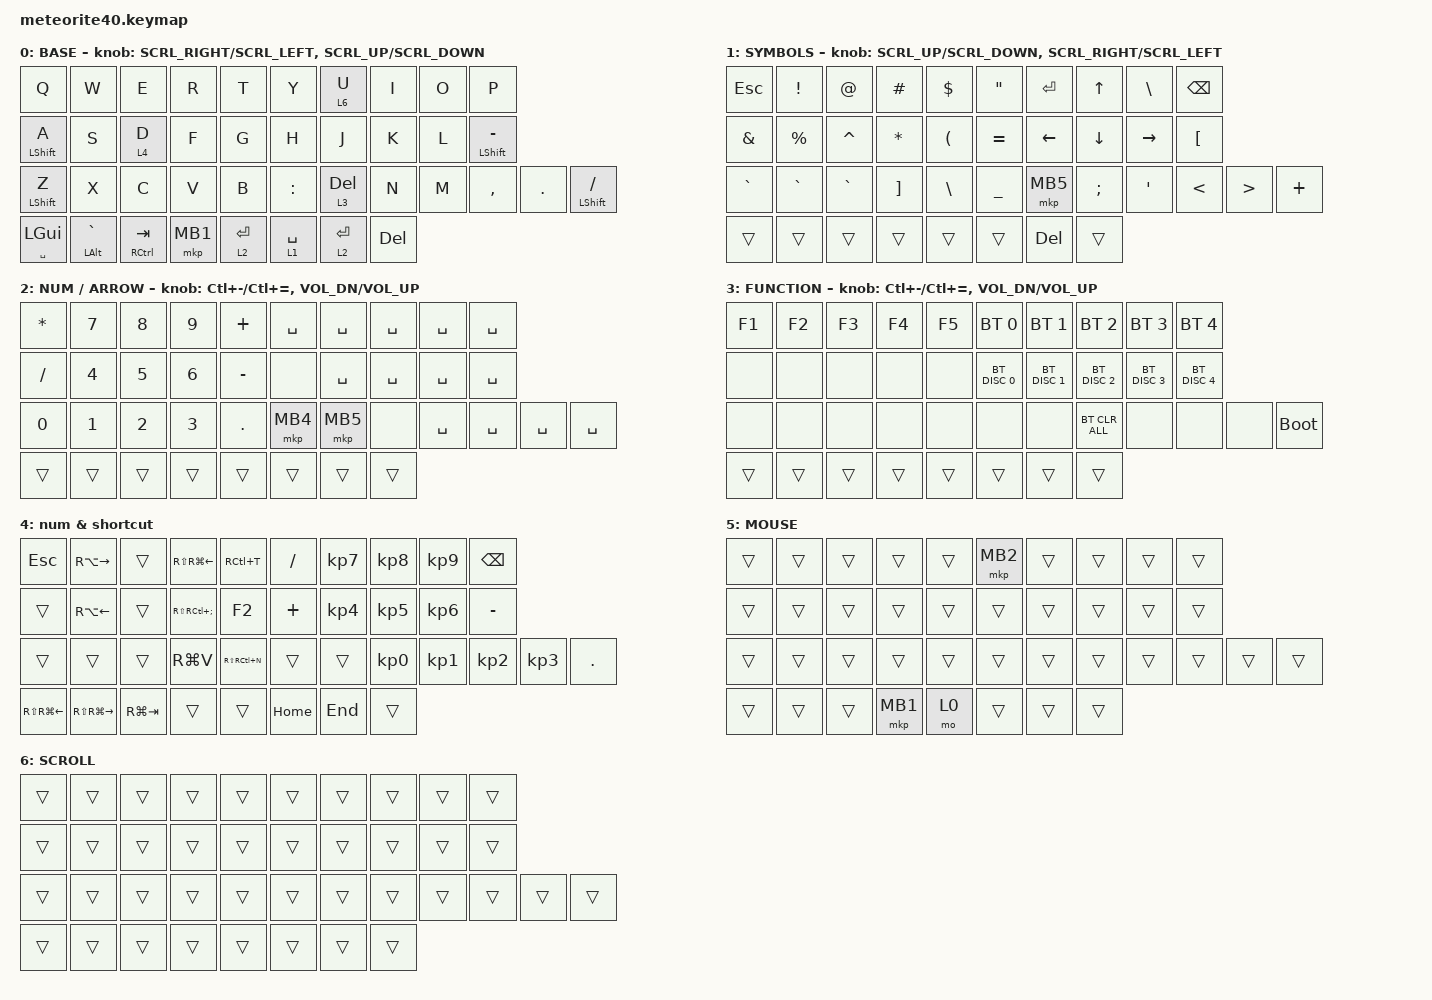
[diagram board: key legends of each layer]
#include <behaviors/meteorite_custom_key.dtsi>
#include <behaviors/custom_config.dtsi>
#include <behaviors/meteorite_bt_os.dtsi>
#include <behaviors/meteorite_mod_key.dtsi>
#include <behaviors/meteorite_os_key.dtsi>
#include <dt-bindings/zmk/custom_config.h>
#include <dt-bindings/zmk/meteorite_custom_keys.h>
#include <dt-bindings/zmk/meteorite_bt_os.h>

#define ZMK_POINTING_DEFAULT_SCRL_VAL 200

#include <behaviors.dtsi>
#include <dt-bindings/zmk/bt.h>
#include <dt-bindings/zmk/keys.h>
#include <dt-bindings/zmk/pointing.h>

&mt {
    flavor = "tap-preferred"; // change hold to tap
    tapping-term-ms = <200>;
    quick-tap-ms = <150>; // change 200 to 150
};

&lt {
    flavor = "tap-preferred";
    tapping-term-ms = <150>; // change 200 to 150
    quick-tap-ms = <150>; // change 200 to 150
};

/ {
    behaviors {
        mouse_scroll_var: mouse_scroll_var {
            compatible = "zmk,behavior-sensor-rotate-var";
            #sensor-binding-cells = <2>;
            bindings = <&msc>, <&msc>;

            tap-ms = <25>;
        };

        mck_mt: mck_mt {
            compatible = "zmk,behavior-hold-tap";
            #binding-cells = <2>;
            flavor = "tap-preferred";
            tapping-term-ms = <150>;
            bindings = <&mck>, <&kp>;

            display-name = "meteorite OS-Switch-mod-tap";
        };

        mck_mt_st: mck_mt_st {
            compatible = "zmk,behavior-hold-tap";
            #binding-cells = <2>;
            flavor = "tap-preferred";
            tapping-term-ms = <150>;
            bindings = <&mck>, <&alt_cmd_tab>;

            display-name = "meteorite OS-Switch-mod-tap (smart toggle)";
        };

        alt_cmd_tab: alt_cmd_tab {
            compatible = "zmk,behavior-smart-toggle";
            #binding-cells = <0>;
            display-name = "meteorite Smart toggle (Alt/Cmd+Tab)";
            bindings = <&mck M_OS_ALT_CMD>, <&kp TAB>;

            position-bindings = <12 13>; /* D, F */
            position-binding-behaviors = <&kp LS(TAB)>, <&kp TAB>;
        };
    };

    combos {
        compatible = "zmk,combos";

        lang1 {
            bindings = <&kp LANG1>;
            key-positions = <12 13>; /* D + F */
            layers = <0>;
        };

        lang2 {
            bindings = <&kp LANG2>;
            key-positions = <16 17>; /* J + K */
            layers = <0>;
        };

        esc {
            bindings = <&kp ESCAPE>;
            key-positions = <1 0>; /* Z + X */
            layers = <0>;
        };
    };

    keymap {
        compatible = "zmk,keymap";
        layout = &LAYOUT_2U_SPACE;

        win_default_layer {
            display-name = "BASE";
            bindings = <
&kp Q               &kp W               &kp E          &kp R     &kp T        &kp Y        &lt 6 U       &kp I       &kp O  &kp P
&mt LSHIFT A        &kp S               &lt 4 D        &kp F     &kp G        &kp H        &kp J         &kp K       &kp L  &mt LEFT_SHIFT MINUS
&mt LEFT_SHIFT Z    &kp X               &kp C          &kp V     &kp B        &kp COLON    &lt 3 DELETE  &kp N       &kp M  &kp COMMA             &kp DOT  &mt LEFT_SHIFT SLASH
&mt SPACE LEFT_GUI  &mt LEFT_ALT GRAVE  &mt RCTRL TAB  &mkp MB1  &lt 2 ENTER  &lt 1 SPACE  &lt 2 ENTER   &kp DELETE
            >;

            sensor-bindings =
                <&mouse_scroll_var SCRL_RIGHT SCRL_LEFT>,
                // RE0(左): 時計回/右スクロール、反時計回/左スクロール,,,,,,,,,,,,,,,,,
                <&mouse_scroll_var SCRL_UP SCRL_DOWN>;

            // RE1(右): 時計回/上スクロール、反時計回/下スクロール
            //<&inc_dec_kp LC(MINUS) LC(EQUAL)>, // RE0: ctrl + - / +,,,
            //<&inc_dec_kp C_VOL_DN C_VOL_UP>; // RE1: volume down/up
        };

        layer_1 {
            display-name = "SYMBOLS";
            bindings = <
&kp ESCAPE     &kp EXCL     &kp AT     &kp HASH   &kp DOLLAR            &kp DOUBLE_QUOTES  &kp ENTER       &kp UP_ARROW    &kp BACKSLASH  &kp BSPC
&kp AMPERSAND  &kp PERCENT  &kp CARET  &kp ASTRK  &kp LEFT_PARENTHESIS  &kp EQUAL          &kp LEFT_ARROW  &kp DOWN_ARROW  &kp RIGHT      &kp LBKT
&kp GRAVE      &kp GRAVE    &kp GRAVE  &kp RBKT   &kp BSLH              &kp UNDER          &mkp MB5        &kp SEMI        &kp APOS       &kp LESS_THAN  &kp GREATER_THAN  &kp PLUS
&trans         &trans       &trans     &trans     &trans                &trans             &kp DEL         &trans
            >;

            sensor-bindings =
                <&mouse_scroll_var SCRL_UP SCRL_DOWN>,
                // RE1(右): 時計回/上スクロール、反時計回/下スクロール,,,,,,,,,,,,,,,,,
                <&mouse_scroll_var SCRL_RIGHT SCRL_LEFT>;

            // RE0(左): 時計回/右スクロール、反時計回/左スクロール
            //<&inc_dec_kp LC(MINUS) LC(EQUAL)>, // RE0: ctrl + - / +,,,
            //<&inc_dec_kp C_VOL_DN C_VOL_UP>; // RE1: volume down/up
        };

        layer_2 {
            display-name = "NUM / ARROW";
            bindings = <
&kp ASTRK  &kp N7  &kp N8  &kp N9  &kp PLUS   &kp SPACE  &kp SPACE  &kp SPACE  &kp SPACE  &kp SPACE
&kp SLASH  &kp N4  &kp N5  &kp N6  &kp MINUS  &none      &kp SPACE  &kp SPACE  &kp SPACE  &kp SPACE
&kp N0     &kp N1  &kp N2  &kp N3  &kp DOT    &mkp MB4   &mkp MB5   &none      &kp SPACE  &kp SPACE  &kp SPACE  &kp SPACE
&trans     &trans  &trans  &trans  &trans     &trans     &trans     &trans
            >;

            sensor-bindings =
                <&inc_dec_kp LC(MINUS) LC(EQUAL)>,
                // RE0: ctrl + - / +,,,,,,,,,,,,,,,,,,,,
                <&inc_dec_kp C_VOL_DN C_VOL_UP>;

            // RE1: volume down/up
        };

        layer_3 {
            display-name = "FUNCTION";
            bindings = <
&kp F1  &kp F2  &kp F3  &kp F4  &kp F5  &bt BT_SEL 0   &bt BT_SEL 1   &bt BT_SEL 2    &bt BT_SEL 3   &bt BT_SEL 4
&none   &none   &none   &none   &none   &bt BT_DISC 0  &bt BT_DISC 1  &bt BT_DISC 2   &bt BT_DISC 3  &bt BT_DISC 4
&none   &none   &none   &none   &none   &none          &none          &bt BT_CLR_ALL  &none          &none          &none  &bootloader
&trans  &trans  &trans  &trans  &trans  &trans         &trans         &trans
            >;

            sensor-bindings =
                <&inc_dec_kp LC(MINUS) LC(EQUAL)>,
                // RE0: ctrl + - / +,,,,,,,,,,,,,,,,,,,,
                <&inc_dec_kp C_VOL_DN C_VOL_UP>;

            // RE1: volume down/up
        };

        layer_4 {
            bindings = <
&kp ESC           &kp RA(RIGHT)       &trans       &kp RS(RG(LEFT))  &kp RC(T)      &kp SLASH  &kp KP_NUMBER_7  &kp KP_NUMBER_8  &kp KP_NUMBER_9  &kp BSPC
&trans            &kp RA(LEFT_ARROW)  &trans       &kp RS(RC(SEMI))  &kp F2         &kp PLUS   &kp KP_NUMBER_4  &kp KP_NUMBER_5  &kp KP_NUMBER_6  &kp MINUS
&trans            &trans              &trans       &kp RG(V)         &kp RS(RC(N))  &trans     &trans           &kp KP_NUMBER_0  &kp KP_NUMBER_1  &kp KP_NUMBER_2  &kp KP_NUMBER_3  &kp DOT
&kp RS(RG(LEFT))  &kp RS(RG(RIGHT))   &kp RG(TAB)  &trans            &trans         &kp HOME   &kp END          &trans
            >;

            label = "num & shortcut";
        };

        // index 5: オートマウスレイヤー（トラックボール移動で自動起動）
        layer_5 {
            display-name = "MOUSE";
            bindings = <
&trans  &trans  &trans  &trans    &trans  &mkp MB2  &trans  &trans  &trans  &trans
&trans  &trans  &trans  &trans    &trans  &trans    &trans  &trans  &trans  &trans
&trans  &trans  &trans  &trans    &trans  &trans    &trans  &trans  &trans  &trans  &trans  &trans
&trans  &trans  &trans  &mkp MB1  &mo 0   &trans    &trans  &trans
            >;
        };

        // index 6: スクロールレイヤー（U ホールドでトラックボールをスクロールに切替。オートマウス(5)より上位）
        layer_6 {
            display-name = "SCROLL";
            bindings = <
&trans  &trans  &trans  &trans  &trans  &trans  &trans  &trans  &trans  &trans
&trans  &trans  &trans  &trans  &trans  &trans  &trans  &trans  &trans  &trans
&trans  &trans  &trans  &trans  &trans  &trans  &trans  &trans  &trans  &trans  &trans  &trans
&trans  &trans  &trans  &trans  &trans  &trans  &trans  &trans
            >;
        };
    };
};
